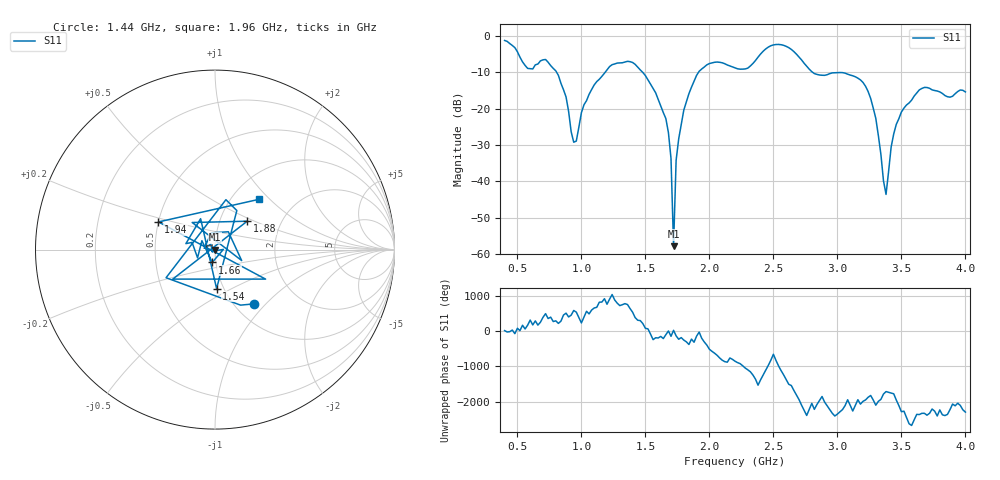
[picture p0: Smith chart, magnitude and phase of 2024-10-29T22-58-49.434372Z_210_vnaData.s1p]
!Created with skrf (http://scikit-rf.org).
# Hz S RI R 50.0
!freq ReS11 ImS11
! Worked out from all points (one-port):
!   181 points, 400 MHz to 4 GHz, reference 50 ohm
!   lowest |S11| = -57.8 dB at 1.72 GHz (marker M1), VSWR 1.00, Z = 50.1 + j0.0425 ohm
!   |S11| at or under -10 dB: 806.5 MHz to 1.185 GHz (379 MHz wide, 38.1 % of centre); 1.479 GHz to 1.915 GHz (436.4 MHz wide, 25.7 % of centre); 2.806 GHz to end of sweep
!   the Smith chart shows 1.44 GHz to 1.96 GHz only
!   S11 on the Smith chart (normalised r, x): 1.44 GHz: 1.22, -0.86; 1.54 GHz: 0.93, -0.42; 1.66 GHz: 0.96, -0.14; 1.88 GHz: 1.35, +0.45; 1.94 GHz: 0.50, +0.18; 1.96 GHz: 1.33, +0.87
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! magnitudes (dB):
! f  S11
! 400 MHz  -1.3
! 580 MHz  -8.9
! 720 MHz  -6.5
! 860 MHz  -14.8
! 960 MHz  -28.9
! 1.08 GHz  -14.7
! 1.3 GHz  -7.4
! 1.44 GHz  -8.6
! 1.54 GHz  -13.2
! 1.66 GHz  -22.7
! 1.7 GHz  -33.7
! 1.72 GHz  -57.8
! 1.74 GHz  -34.2
! 1.76 GHz  -28.3
! 1.88 GHz  -12.4
! 1.94 GHz  -9.1
! 1.96 GHz  -8.5
! 2.2 GHz  -8.8
! 2.5 GHz  -2.5
! 2.66 GHz  -4.3
! 2.82 GHz  -10.4
! 3.1 GHz  -10.8
! 3.26 GHz  -17.2
! 3.38 GHz  -43.6
! 3.44 GHz  -26.9
! 3.56 GHz  -18.4
! 3.68 GHz  -14.2
! 4 GHz  -15.4
